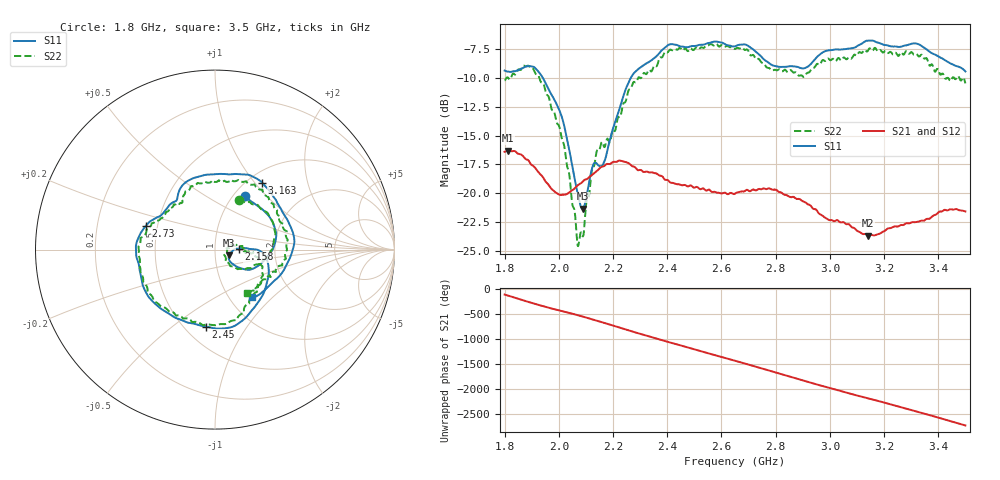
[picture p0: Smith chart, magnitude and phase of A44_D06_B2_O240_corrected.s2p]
! Created with skrf 1.9.0 (http://scikit-rf.org).
# Hz S RI R 50.0
!freq ReS11 ImS11 ReS21 ImS21 ReS12 ImS12 ReS22 ImS22
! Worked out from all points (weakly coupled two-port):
!   1601 points, 1.8 GHz to 3.5 GHz, reference 50 ohm
!   highest |S21| = -16.31 dB at 1.814 GHz (marker M1); lowest = -23.7 dB at 3.142 GHz (marker M2)
!   lowest |S11| = -21.3 dB at 2.088 GHz (marker M3), VSWR 1.19, Z = 58.5 - j3.78 ohm
!   |S11| at or under -10 dB: 1.941 GHz to 2.266 GHz (324.6 MHz wide, 15.4 % of centre)
!   |S22| runs from -24.6 to -7.0 dB; largest |S21 - S12| = 0.0025
!   S11 on the Smith chart (normalised r, x): 1.8 GHz: 1.12, +0.76; 2.158 GHz: 1.30, +0.01; 2.45 GHz: 0.63, -0.66; 2.73 GHz: 0.43, +0.14; 3.163 GHz: 1.16, +1.09; 3.5 GHz: 1.27, -0.76
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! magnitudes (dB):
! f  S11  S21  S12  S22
! 1.8 GHz  -9.4  -16.4  -16.4  -10.2
! 1.814 GHz  -9.5  -16.3  -16.3  -10.0
! 1.885 GHz  -9.0  -17.1  -17.1  -8.9
! 1.943 GHz  -10.1  -18.7  -18.7  -10.5
! 2.013 GHz  -13.5  -20.1  -20.1  -15.4
! 2.068 GHz  -19.8  -19.4  -19.4  -24.2
! 2.084 GHz  -21.3  -19.1  -19.0  -23.4
! 2.088 GHz  -21.3  -19.0  -19.0  -23.7
! 2.127 GHz  -17.5  -18.3  -18.3  -17.8
! 2.158 GHz  -17.6  -17.7  -17.7  -15.6
! 2.191 GHz  -15.1  -17.4  -17.4  -15.4
! 2.263 GHz  -10.1  -17.5  -17.5  -11.0
! 2.367 GHz  -8.0  -18.4  -18.3  -8.6
! 2.45 GHz  -7.3  -19.3  -19.3  -7.5
! 2.65 GHz  -7.3  -20.0  -20.0  -7.5
! 2.73 GHz  -7.8  -19.7  -19.8  -8.4
! 2.934 GHz  -8.7  -21.2  -21.2  -9.2
! 3.142 GHz  -6.8  -23.7  -23.6  -7.6
! 3.163 GHz  -6.8  -23.7  -23.6  -7.5
! 3.217 GHz  -7.2  -23.0  -23.0  -7.8
! 3.324 GHz  -7.1  -22.5  -22.4  -8.0
! 3.5 GHz  -9.4  -21.6  -21.5  -10.5
